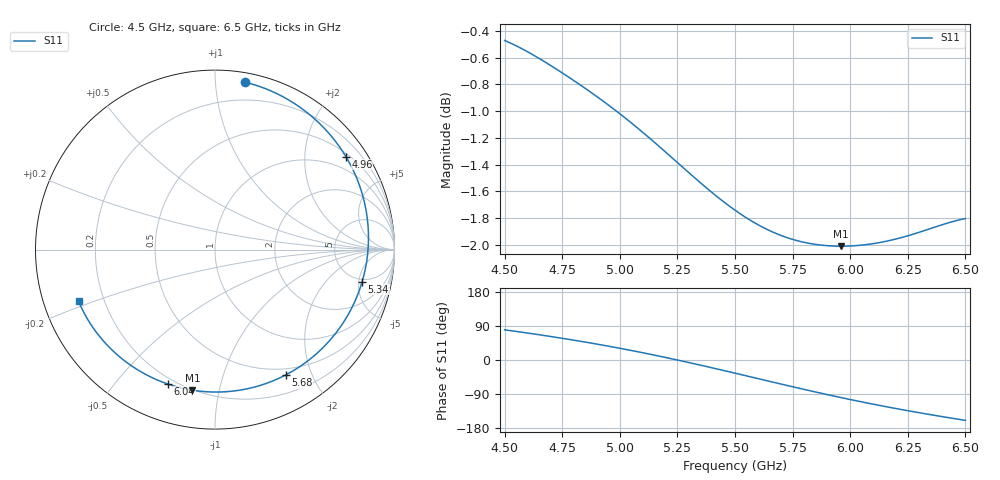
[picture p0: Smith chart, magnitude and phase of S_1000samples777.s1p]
! TOUCHSTONE file generated by CST MICROWAVE STUDIO
! Date and time: Sat Oct 29 08:30:16 2022
! Project name: L.cst
! Parameters = {Di=1.27; Epsilon_r=1.56; InnerDiameter=1.27; Length=2; Lf=10; Lg=60; OuterConductorThickness=0.2921; OuterDiameter=3.6; Wf=3; Wp=41.2; de=1.5; df=6.8; g=0.8; gx=3.33351; gy=1.32721; h=2.34; hf=1.524; px=9.80416; py=8.22427; w=9.7; wx=6.47065; wy=6.89706}
! Header version: 2018
! Port assignment regex: !\s*Touchstone port\s*([0-9]+)\s*=\s*(CST MWS port|CST DS port)\s*([0-9]+|Zmin|Zmax)\s*\(\"(.*)\"\)(\s*mode\s*([0-9]+))?.*
! Touchstone port assignment:
! Touchstone port 1 = CST MWS port 1 ("")
# GHz S DB R 50
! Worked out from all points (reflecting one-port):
!   101 points, 4.5 GHz to 6.5 GHz, reference 50 ohm
!   lowest |S11| = -2.0 dB at 5.96 GHz (marker M1), VSWR 8.67, Z = 9.85 - j41.6 ohm
!   phase of S11 starts at 80 deg and turns -239 deg over the sweep
!   S11 on the Smith chart (normalised r, x): 4.5 GHz: 0.07, +1.20; 4.96 GHz: 0.58, +3.03; 5.34 GHz: 4.62, -5.56; 5.68 GHz: 0.42, -1.63; 6.04 GHz: 0.17, -0.70; 6.5 GHz: 0.11, -0.18
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4.5  -0.47 79.7
4.58  -0.54 72.8
4.64  -0.60 67.5
4.76  -0.72 56.3
4.86  -0.84 46.2
4.96  -0.97 35.4
5  -1.02 30.9
5.08  -1.13 21.5
5.14  -1.22 14.1
5.2  -1.31 6.5
5.26  -1.40 -1.4
5.34  -1.52 -12.2
5.42  -1.64 -23.4
5.5  -1.74 -34.8
5.6  -1.85 -49.1
5.68  -1.92 -60.6
5.76  -1.97 -72.0
5.8  -1.98 -77.6
5.86  -2.00 -85.8
5.9  -2.01 -91.2
5.96  -2.01 -99.1
6  -2.01 -104.3
6.04  -2.01 -109.3
6.1  -1.99 -116.6
6.16  -1.97 -123.7
6.26  -1.93 -134.9
6.38  -1.86 -147.5
6.5  -1.80 -159.3
